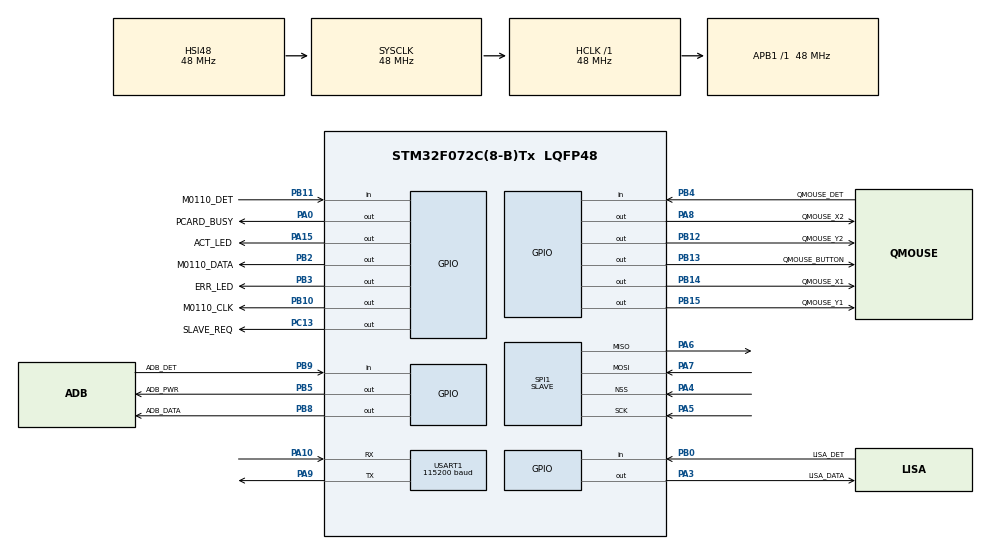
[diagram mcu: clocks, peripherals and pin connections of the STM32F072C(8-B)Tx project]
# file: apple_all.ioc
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Mcu.Family=STM32F0
Mcu.Name=STM32F072C(8-B)Tx
Mcu.Package=LQFP48
NVIC.SPI1_IRQn=true\:0\:0\:false\:false\:true\:true\:true
NVIC.TIM14_IRQn=true\:3\:0\:true\:false\:true\:true\:true
NVIC.TIM16_IRQn=true\:3\:0\:true\:false\:true\:true\:true
NVIC.TIM17_IRQn=true\:2\:0\:true\:false\:true\:true\:true
PA0.GPIO_Label=PCARD_BUSY
PA0.Signal=GPIO_Output
PA10.Mode=Asynchronous
PA10.Signal=USART1_RX
PA13.Mode=Serial_Wire
PA13.Signal=SYS_SWDIO
PA14.Mode=Serial_Wire
PA14.Signal=SYS_SWCLK
PA15.GPIO_Label=ACT_LED
PA15.Signal=GPIO_Output
PA3.GPIO_Label=LISA_DATA
PA3.GPIO_ModeDefaultOutputPP=GPIO_MODE_OUTPUT_OD
PA3.PinState=GPIO_PIN_SET
PA3.Signal=GPIO_Output
PA4.Mode=NSS_Signal_Hard_Input
PA4.Signal=SPI1_NSS
PA5.Mode=Full_Duplex_Slave
PA5.Signal=SPI1_SCK
PA6.Mode=Full_Duplex_Slave
PA6.Signal=SPI1_MISO
PA7.Mode=Full_Duplex_Slave
PA7.Signal=SPI1_MOSI
PA8.GPIO_Label=QMOUSE_X2
PA8.GPIO_ModeDefaultOutputPP=GPIO_MODE_OUTPUT_OD
PA8.PinState=GPIO_PIN_SET
PA8.Signal=GPIO_Output
PA9.Mode=Asynchronous
PA9.Signal=USART1_TX
PB0.GPIO_Label=LISA_DET
PB0.GPIO_PuPd=GPIO_PULLDOWN
PB0.Signal=GPIO_Input
PB10.GPIO_Label=M0110_CLK
PB10.GPIO_ModeDefaultOutputPP=GPIO_MODE_OUTPUT_OD
PB10.PinState=GPIO_PIN_SET
PB10.Signal=GPIO_Output
PB11.GPIO_Label=M0110_DET
PB11.GPIO_PuPd=GPIO_PULLDOWN
PB11.Signal=GPIO_Input
PB12.GPIO_Label=QMOUSE_Y2
PB12.GPIO_ModeDefaultOutputPP=GPIO_MODE_OUTPUT_OD
PB12.PinState=GPIO_PIN_SET
PB12.Signal=GPIO_Output
PB13.GPIO_Label=QMOUSE_BUTTON
PB13.GPIO_ModeDefaultOutputPP=GPIO_MODE_OUTPUT_OD
PB13.GPIO_Speed=GPIO_SPEED_FREQ_LOW
PB13.PinState=GPIO_PIN_SET
PB13.Signal=GPIO_Output
PB14.GPIO_Label=QMOUSE_X1
PB14.GPIO_ModeDefaultOutputPP=GPIO_MODE_OUTPUT_OD
PB14.GPIO_Speed=GPIO_SPEED_FREQ_LOW
PB14.PinState=GPIO_PIN_SET
PB14.Signal=GPIO_Output
PB15.GPIO_Label=QMOUSE_Y1
PB15.GPIO_ModeDefaultOutputPP=GPIO_MODE_OUTPUT_OD
PB15.GPIO_Speed=GPIO_SPEED_FREQ_LOW
PB15.PinState=GPIO_PIN_SET
PB15.Signal=GPIO_Output
PB2.GPIO_Label=M0110_DATA
PB2.GPIO_ModeDefaultOutputPP=GPIO_MODE_OUTPUT_OD
PB2.PinState=GPIO_PIN_SET
PB2.Signal=GPIO_Output
PB3.GPIO_Label=ERR_LED
PB3.Signal=GPIO_Output
PB4.GPIO_Label=QMOUSE_DET
PB4.GPIO_PuPd=GPIO_PULLDOWN
PB4.Signal=GPIO_Input
PB5.GPIO_Label=ADB_PWR
PB5.GPIO_ModeDefaultOutputPP=GPIO_MODE_OUTPUT_OD
PB5.PinState=GPIO_PIN_SET
PB5.Signal=GPIO_Output
PB8.GPIO_Label=ADB_DATA
PB8.GPIO_ModeDefaultOutputPP=GPIO_MODE_OUTPUT_OD
PB8.PinState=GPIO_PIN_SET
PB8.Signal=GPIO_Output
PB9.GPIO_Label=ADB_DET
PB9.GPIO_PuPd=GPIO_PULLDOWN
PB9.Signal=GPIO_Input
PC13.GPIO_Label=SLAVE_REQ
PC13.PinState=GPIO_PIN_RESET
PC13.Signal=GPIO_Output
ProjectManager.HeapSize=0x200
ProjectManager.StackSize=0x400
ProjectManager.TargetToolchain=MDK-ARM V5
RCC.AHBFreq_Value=48000000
RCC.APB1Freq_Value=48000000
RCC.APB1TimFreq_Value=48000000
RCC.HCLKFreq_Value=48000000
RCC.I2c1ClockSelection=RCC_I2C1CLKSOURCE_SYSCLK
RCC.SYSCLKFreq_VALUE=48000000
RCC.SYSCLKSource=RCC_SYSCLKSOURCE_HSI48
RCC.Usart1ClockSelection=RCC_USART1CLKSOURCE_SYSCLK
SPI1.DataSize=SPI_DATASIZE_8BIT
SPI1.Direction=SPI_DIRECTION_2LINES
SPI1.Mode=SPI_MODE_SLAVE
SPI1.VirtualNSS=VM_NSSHARD
SPI1.VirtualType=VM_SLAVE
TIM14.AutoReloadPreload=TIM_AUTORELOAD_PRELOAD_ENABLE
TIM14.Period=65535
TIM14.Prescaler=47
TIM16.AutoReloadPreload=TIM_AUTORELOAD_PRELOAD_ENABLE
TIM16.Period=65535
TIM16.Prescaler=47
TIM17.Period=10000
TIM17.Prescaler=47
TIM2.Period=4294967295
TIM2.Prescaler=47
USART1.BaudRate=115200
USART1.VirtualMode-Asynchronous=VM_ASYNC
VP_TIM14_VS_ClockSourceINT.Mode=Enable_Timer
VP_TIM16_VS_ClockSourceINT.Mode=Enable_Timer
VP_TIM17_VS_ClockSourceINT.Mode=Enable_Timer
VP_TIM2_VS_ClockSourceINT.Mode=Internal
board=custom

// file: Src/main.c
/**
  ******************************************************************************
  * @file           : main.c
  * @brief          : Main program body
  ******************************************************************************
  ** This notice applies to any and all portions of this file
  * that are not between comment pairs USER CODE BEGIN and
  * USER CODE END. Other portions of this file, whether
  * inserted by the user or by software development tools
  * are owned by their respective copyright owners.
  *
  * COPYRIGHT(c) 2023 STMicroelectronics
  *
  * Redistribution and use in source and binary forms, with or without modification,
  * are permitted provided that the following conditions are met:
  *   1. Redistributions of source code must retain the above copyright notice,
  *      this list of conditions and the following disclaimer.
  *   2. Redistributions in binary form must reproduce the above copyright notice,
  *      this list of conditions and the following disclaimer in the documentation
  *      and/or other materials provided with the distribution.
  *   3. Neither the name of STMicroelectronics nor the names of its contributors
  *      may be used to endorse or promote products derived from this software
  *      without specific prior written permission.
  *
  * THIS SOFTWARE IS PROVIDED BY THE COPYRIGHT HOLDERS AND CONTRIBUTORS "AS IS"
  * AND ANY EXPRESS OR IMPLIED WARRANTIES, INCLUDING, BUT NOT LIMITED TO, THE
  * IMPLIED WARRANTIES OF MERCHANTABILITY AND FITNESS FOR A PARTICULAR PURPOSE ARE
  * DISCLAIMED. IN NO EVENT SHALL THE COPYRIGHT HOLDER OR CONTRIBUTORS BE LIABLE
  * FOR ANY DIRECT, INDIRECT, INCIDENTAL, SPECIAL, EXEMPLARY, OR CONSEQUENTIAL
  * DAMAGES (INCLUDING, BUT NOT LIMITED TO, PROCUREMENT OF SUBSTITUTE GOODS OR
  * SERVICES; LOSS OF USE, DATA, OR PROFITS; OR BUSINESS INTERRUPTION) HOWEVER
  * CAUSED AND ON ANY THEORY OF LIABILITY, WHETHER IN CONTRACT, STRICT LIABILITY,
  * OR TORT (INCLUDING NEGLIGENCE OR OTHERWISE) ARISING IN ANY WAY OUT OF THE USE
  * OF THIS SOFTWARE, EVEN IF ADVISED OF THE POSSIBILITY OF SUCH DAMAGE.
  *
  ******************************************************************************
  */
#include "main.h"
#include "stm32f0xx_hal.h"

/* USER CODE BEGIN Includes */
#include <string.h>
#include <stdlib.h>
#include "delay_us.h"
#include "shared.h"
#include "helpers.h"
#include "quad_encoder.h"
#include "m0110a.h"
#include "lisa_kb.h"

#define PROTOCOL_STATUS_NOT_AVAILABLE 0
#define PROTOCOL_STATUS_ENABLED 1
#define PROTOCOL_STATUS_DISABLED 2
#define PROTOCOL_LOOKUP_SIZE 16

/* USER CODE END Includes */

SPI_HandleTypeDef hspi1;

TIM_HandleTypeDef htim2;
TIM_HandleTypeDef htim14;
TIM_HandleTypeDef htim16;
TIM_HandleTypeDef htim17;

UART_HandleTypeDef huart1;

/* USER CODE BEGIN PV */
/* Private variables ---------------------------------------------------------*/

const uint8_t board_id = 3;
const uint8_t version_major = 0;
const uint8_t version_minor = 0;
const uint8_t version_patch = 1;
uint8_t hw_revision = 0;

uint8_t spi_transmit_buf[SPI_BUF_SIZE];
uint8_t spi_recv_buf[SPI_BUF_SIZE];
kb_buf my_kb_buf;
m0110a_cmd_buf my_m0110a_buf;

mouse_buf my_mouse_buf;
mouse_event latest_mouse_event;
uint8_t spi_error_occured;
uint8_t protocol_status_lookup[PROTOCOL_LOOKUP_SIZE];

/* USER CODE END PV */

void SystemClock_Config(void);
static void MX_GPIO_Init(void);
static void MX_SPI1_Init(void);
static void MX_USART1_UART_Init(void);
static void MX_TIM2_Init(void);
static void MX_TIM16_Init(void);
static void MX_TIM17_Init(void);
static void MX_TIM14_Init(void);

/* USER CODE BEGIN PFP */
/* Private function prototypes -----------------------------------------------*/

/* USER CODE END PFP */

/* USER CODE BEGIN 0 */
int fputc(int ch, FILE *f)
{
    HAL_UART_Transmit(&huart1, (unsigned char *)&ch, 1, 10);
    return ch;
}

int16_t byte_to_int16_t(uint8_t lsb, uint8_t msb)
{
  return (int16_t)((msb << 8) | lsb);
}

void protocol_status_lookup_init(void)
{
  memset(protocol_status_lookup, PROTOCOL_STATUS_NOT_AVAILABLE, PROTOCOL_LOOKUP_SIZE);
  protocol_status_lookup[PROTOCOL_ADB_KB] = PROTOCOL_STATUS_DISABLED;
  protocol_status_lookup[PROTOCOL_ADB_MOUSE] = PROTOCOL_STATUS_DISABLED;
  protocol_status_lookup[PROTOCOL_M0100_MOUSE] = PROTOCOL_STATUS_ENABLED;
  protocol_status_lookup[PROTOCOL_M0110_KB] = PROTOCOL_STATUS_ENABLED;
  protocol_status_lookup[PROTOCOL_LISA_KB] = PROTOCOL_STATUS_DISABLED;
}

void handle_protocol_switch(uint8_t spi_byte)
{
  uint8_t index = spi_byte & 0x7f;
  uint8_t onoff = spi_byte & 0x80;

  if(index >= PROTOCOL_LOOKUP_SIZE)
    return;
  // trying to change a protocol that is not available on this board
  if(protocol_status_lookup[index] == PROTOCOL_STATUS_NOT_AVAILABLE)
    return;
  kb_buf_reset(&my_kb_buf);
  mouse_buf_reset(&my_mouse_buf);
  // switching protocol ON
  if(onoff && protocol_status_lookup[index] == PROTOCOL_STATUS_DISABLED)
  {
    switch(index)
    {
      case PROTOCOL_ADB_KB:
        break;

      case PROTOCOL_ADB_MOUSE:
        break;

      case PROTOCOL_M0100_MOUSE:
        quad_enable();
        break;

      case PROTOCOL_M0110_KB:
        m0110a_reset(&my_m0110a_buf);
        break;

      case PROTOCOL_LISA_KB:
        lisa_kb_reset();
        break;
    }
    protocol_status_lookup[index] = PROTOCOL_STATUS_ENABLED;
  }
  // switching protocol OFF
  else if((onoff == 0) && protocol_status_lookup[index] == PROTOCOL_STATUS_ENABLED)
  {
    switch(index)
    {
      case PROTOCOL_ADB_KB:
        break;

      case PROTOCOL_ADB_MOUSE:
        break;

      case PROTOCOL_M0100_MOUSE:
        quad_disable();
        break;

      case PROTOCOL_M0110_KB:
        m0110a_reset(&my_m0110a_buf);
        break;

      case PROTOCOL_LISA_KB:
        lisa_kb_reset();
        break;
    }
    protocol_status_lookup[index] = PROTOCOL_STATUS_DISABLED;
  }
}

void parse_spi_buf(uint8_t* spibuf)
{
  if(spibuf[SPI_BUF_INDEX_MSG_TYPE] == SPI_MOSI_MSG_TYPE_MOUSE_EVENT)
  {
    latest_mouse_event.movement_x = byte_to_int16_t(spibuf[4], spibuf[5]);
    latest_mouse_event.movement_y = 1 * byte_to_int16_t(spibuf[6], spibuf[7]);
    latest_mouse_event.button_left = spibuf[13];
    latest_mouse_event.button_right = spibuf[14];
    latest_mouse_event.button_middle = spibuf[15];
    latest_mouse_event.button_side = spibuf[16];
    latest_mouse_event.button_extra = spibuf[17];
    mouse_buf_add(&my_mouse_buf, &latest_mouse_event);
  }
  else if(spibuf[SPI_BUF_INDEX_MSG_TYPE] == SPI_MOSI_MSG_TYPE_KEYBOARD_EVENT)
  {
    kb_buf_add(&my_kb_buf, spibuf[4], spibuf[6]);
  }
  else if(spibuf[SPI_BUF_INDEX_MSG_TYPE] == SPI_MOSI_MSG_TYPE_INFO_REQUEST)
  {
    memset(spi_transmit_buf, 0, SPI_BUF_SIZE);
    spi_transmit_buf[SPI_BUF_INDEX_MAGIC] = SPI_MISO_MAGIC;
    spi_transmit_buf[SPI_BUF_INDEX_SEQNUM] = spibuf[SPI_BUF_INDEX_SEQNUM];
    spi_transmit_buf[SPI_BUF_INDEX_MSG_TYPE] = SPI_MISO_MSG_TYPE_INFO_REQUEST;
    spi_transmit_buf[3] = board_id;
    spi_transmit_buf[4] = hw_revision;
    spi_transmit_buf[5] = version_major;
    spi_transmit_buf[6] = version_minor;
    spi_transmit_buf[7] = version_patch;
    uint8_t curr_index = 8;
    for (int i = 0; i < PROTOCOL_LOOKUP_SIZE; i++)
    {
      if(protocol_status_lookup[i] == PROTOCOL_STATUS_NOT_AVAILABLE)
        continue;
      else if(protocol_status_lookup[i] == PROTOCOL_STATUS_DISABLED)
        spi_transmit_buf[curr_index] = i;
      else if(protocol_status_lookup[i] == PROTOCOL_STATUS_ENABLED)
        spi_transmit_buf[curr_index] = i | 0x80;
      curr_index++;
    }
  }
  else if(spibuf[SPI_BUF_INDEX_MSG_TYPE] == SPI_MOSI_MSG_TYPE_SET_PROTOCOL)
  {
    for (int i = 3; i < SPI_BUF_SIZE; ++i)
    {
      if(spibuf[i] == 0)
        break;
      handle_protocol_switch(spibuf[i]);
    }
  }
}

volatile uint32_t ACT_LED_off_ts;
void HAL_SPI_TxRxCpltCallback(SPI_HandleTypeDef *hspi)
{
  HAL_GPIO_WritePin(ACT_LED_GPIO_Port, ACT_LED_Pin, GPIO_PIN_SET);
  spi_error_occured = (spi_recv_buf[0] != SPI_MOSI_MAGIC);
  parse_spi_buf(spi_recv_buf);
  if(spi_recv_buf[SPI_BUF_INDEX_MSG_TYPE] == SPI_MOSI_MSG_TYPE_REQ_ACK)
    HAL_GPIO_WritePin(SLAVE_REQ_GPIO_Port, SLAVE_REQ_Pin, GPIO_PIN_RESET);
  HAL_SPI_TransmitReceive_IT(&hspi1, spi_transmit_buf, spi_recv_buf, SPI_BUF_SIZE);
  ACT_LED_off_ts = micros() + 10000;
}

const char boot_message[] = "USB4VC Protocol Board\nApple Pre-USB\ndekuNukem 2022";

/*

!!!!!!!!!!!!!!!!!!!!!!!!!!!!!!!!!!!!!!!!!
!!!!!!!!!!!!!!!!!!!!!!!!!!!!!!!!!!!!!!!!!
!!!!!!!!!!!!!!!!!!!!!!!!!!!!!!!!!!!!!!!!!
!!!!!!!!!!!!!!!!!!!!!!!!!!!!!!!!!!!!!!!!!

REMEMBER TO ENABLE ARR PRELOAD ON TIMER 16

AND DISABLE INTERRUPT DURING TRANSMISION

!!!!!!!!!!!!!!!!!!!!!!!!!!!!!!!!!!!!!!!!!
!!!!!!!!!!!!!!!!!!!!!!!!!!!!!!!!!!!!!!!!!
!!!!!!!!!!!!!!!!!!!!!!!!!!!!!!!!!!!!!!!!!
!!!!!!!!!!!!!!!!!!!!!!!!!!!!!!!!!!!!!!!!!

Configure GPIO pins : M0110_CLK_Pin

*/
uint8_t m0110a_inquiry_active;
uint32_t m0110a_last_inquiry;
uint8_t buffered_code, buffered_value;

void m0110a_write_1b_from_buf(void)
{
  uint8_t m0100a_byte;
  m0110a_cmd_buf_peek(&my_m0110a_buf, &m0100a_byte);
  m0110a_cmd_buf_pop(&my_m0110a_buf);
  m0110a_write(m0100a_byte);
}

void m0110a_update(void)
{
  static uint8_t m0110a_host_cmd, m0110a_status;

  m0110a_status = m0110a_read_host_cmd(&m0110a_host_cmd, 600);
  if(m0110a_status != M0110A_OK)
    return;

  if(m0110a_host_cmd == 0x10) // inquiry
  {
    m0110a_inquiry_active = 1;
    m0110a_last_inquiry = HAL_GetTick();
  }
  else if(m0110a_host_cmd == 0x14) // instant
  {
    if(m0110a_cmd_buf_is_empty(&my_m0110a_buf) == 0)
      m0110a_write_1b_from_buf();
    else
      m0110a_write(0x7b);
  }
  else if(m0110a_host_cmd == 0x16) // model number
    m0110a_write(0xb);
  else if(m0110a_host_cmd == 0x36) // test
    m0110a_write(0x7d);
  // printf("r%x", m0110a_host_cmd);
}

void m0100a_handle_inquiry(void)
{
  if(READ_SPI_CS() == GPIO_PIN_RESET)
    return;
  // "If no key transition has occurred after 0.25 seconds
  // the keyboard sends back a Null response to let the computer know it's still there"
  if(m0110a_inquiry_active && HAL_GetTick() - m0110a_last_inquiry > 250)
  {
    m0110a_write(0x7b);
    m0110a_inquiry_active = 0;
  }
  else if(m0110a_inquiry_active && m0110a_cmd_buf_is_empty(&my_m0110a_buf) == 0)
  {
    m0110a_write_1b_from_buf();
    m0110a_inquiry_active = 0;
  }
  else if(m0110a_inquiry_active && kb_buf_peek(&my_kb_buf, &buffered_code, &buffered_value) == 0)
  {
    m0110a_cmd_buf_reset(&my_m0110a_buf);
    if(make_m0110a_scancode(buffered_code, buffered_value, &my_m0110a_buf) == M0110A_OK)
    {
      m0110a_write_1b_from_buf();
      m0110a_inquiry_active = 0;
    }
    kb_buf_pop(&my_kb_buf);
  }
}

void lisa_init(lisa_handle* lisa)
{
  lisa->data_port = GPIOA;
  lisa->data_pin = GPIO_PIN_3;
  lisa->pwr_port = GPIOB;
  lisa->pwr_pin = GPIO_PIN_0;
  lisa_buf_init();
}

void run_lisa_kb(void)
{
  if(protocol_status_lookup[PROTOCOL_LISA_KB] == PROTOCOL_STATUS_DISABLED)
    return;
  if(HAL_GPIO_ReadPin(LISA_DET_GPIO_Port, LISA_DET_Pin) == GPIO_PIN_RESET)
    return;
  lisa_kb_update();
  if(kb_buf_peek(&my_kb_buf, &buffered_code, &buffered_value) != 0)
    return;
  lisa_buf_add(buffered_code, buffered_value);
  kb_buf_pop(&my_kb_buf);
}

void run_mac_kb(void)
{
  if(protocol_status_lookup[PROTOCOL_M0110_KB] == PROTOCOL_STATUS_DISABLED)
    return;
  if(HAL_GPIO_ReadPin(M0110_DET_GPIO_Port, M0110_DET_Pin) == GPIO_PIN_RESET)
    return;
  if(HAL_GPIO_ReadPin(M0110_CLK_GPIO_Port, M0110_CLK_Pin) == GPIO_PIN_RESET)
    return;
  m0110a_update();
  m0100a_handle_inquiry();
}

/* USER CODE END 0 */

int main(void)
{

  /* MCU Configuration----------------------------------------------------------*/

  /* Reset of all peripherals, Initializes the Flash interface and the Systick. */
  HAL_Init();

  /* Configure the system clock */
  SystemClock_Config();

  /* Initialize all configured peripherals */
  MX_GPIO_Init();
  MX_SPI1_Init();
  MX_USART1_UART_Init();
  MX_TIM2_Init();
  MX_TIM16_Init();
  MX_TIM17_Init();
  MX_TIM14_Init();
  /* USER CODE BEGIN 2 */
  printf("%s\nrev%d v%d.%d.%d\n", boot_message, hw_revision, version_major, version_minor, version_patch);
  delay_us_init(&htim2);
  protocol_status_lookup_init();

  m0110a_cmd_buf_init(&my_m0110a_buf);
  kb_buf_init(&my_kb_buf);
  mouse_buf_init(&my_mouse_buf);
  memset(spi_transmit_buf, 0, SPI_BUF_SIZE);
  HAL_SPI_TransmitReceive_IT(&hspi1, spi_transmit_buf, spi_recv_buf, SPI_BUF_SIZE);

  quad_init(&my_mouse_buf, &htim17, &htim16, &htim14, GPIOA, GPIO_PIN_8, GPIOB, GPIO_PIN_14, GPIOB, GPIO_PIN_15, GPIOB, GPIO_PIN_12);
  quad_enable();
  lisa_init(&lh);
  /* USER CODE END 2 */

  /* Infinite loop */
  /* USER CODE BEGIN WHILE */

	while (1)
  {
    HAL_GPIO_WritePin(ERR_LED_GPIO_Port, ERR_LED_Pin, spi_error_occured);
    if(micros() > ACT_LED_off_ts)
      HAL_GPIO_WritePin(ACT_LED_GPIO_Port, ACT_LED_Pin, GPIO_PIN_RESET);
  /* USER CODE END WHILE */

  /* USER CODE BEGIN 3 */

    run_mac_kb();
    run_lisa_kb();
    HAL_SPI_TransmitReceive_IT(&hspi1, spi_transmit_buf, spi_recv_buf, SPI_BUF_SIZE);
  }
  /* USER CODE END 3 */

}

void SystemClock_Config(void)
{

  RCC_OscInitTypeDef RCC_OscInitStruct;
  RCC_ClkInitTypeDef RCC_ClkInitStruct;
  RCC_PeriphCLKInitTypeDef PeriphClkInit;

    /**Initializes the CPU, AHB and APB busses clocks
    */
  RCC_OscInitStruct.OscillatorType = RCC_OSCILLATORTYPE_HSI48;
  RCC_OscInitStruct.HSI48State = RCC_HSI48_ON;
  RCC_OscInitStruct.PLL.PLLState = RCC_PLL_NONE;
  if (HAL_RCC_OscConfig(&RCC_OscInitStruct) != HAL_OK)
  {
    _Error_Handler(__FILE__, __LINE__);
  }

    /**Initializes the CPU, AHB and APB busses clocks
    */
  RCC_ClkInitStruct.ClockType = RCC_CLOCKTYPE_HCLK|RCC_CLOCKTYPE_SYSCLK
                              |RCC_CLOCKTYPE_PCLK1;
  RCC_ClkInitStruct.SYSCLKSource = RCC_SYSCLKSOURCE_HSI48;
  RCC_ClkInitStruct.AHBCLKDivider = RCC_SYSCLK_DIV1;
  RCC_ClkInitStruct.APB1CLKDivider = RCC_HCLK_DIV1;

  if (HAL_RCC_ClockConfig(&RCC_ClkInitStruct, FLASH_LATENCY_1) != HAL_OK)
  {
    _Error_Handler(__FILE__, __LINE__);
  }

  PeriphClkInit.PeriphClockSelection = RCC_PERIPHCLK_USART1;
  PeriphClkInit.Usart1ClockSelection = RCC_USART1CLKSOURCE_SYSCLK;
  if (HAL_RCCEx_PeriphCLKConfig(&PeriphClkInit) != HAL_OK)
  {
    _Error_Handler(__FILE__, __LINE__);
  }

    /**Configure the Systick interrupt time
    */
  HAL_SYSTICK_Config(HAL_RCC_GetHCLKFreq()/1000);

    /**Configure the Systick
    */
  HAL_SYSTICK_CLKSourceConfig(SYSTICK_CLKSOURCE_HCLK);

  /* SysTick_IRQn interrupt configuration */
  HAL_NVIC_SetPriority(SysTick_IRQn, 0, 0);
}

/* SPI1 init function */
static void MX_SPI1_Init(void)
{

  /* SPI1 parameter configuration*/
  hspi1.Instance = SPI1;
  hspi1.Init.Mode = SPI_MODE_SLAVE;
  hspi1.Init.Direction = SPI_DIRECTION_2LINES;
  hspi1.Init.DataSize = SPI_DATASIZE_8BIT;
  hspi1.Init.CLKPolarity = SPI_POLARITY_LOW;
  hspi1.Init.CLKPhase = SPI_PHASE_1EDGE;
  hspi1.Init.NSS = SPI_NSS_HARD_INPUT;
  hspi1.Init.FirstBit = SPI_FIRSTBIT_MSB;
  hspi1.Init.TIMode = SPI_TIMODE_DISABLE;
  hspi1.Init.CRCCalculation = SPI_CRCCALCULATION_DISABLE;
  hspi1.Init.CRCPolynomial = 7;
  hspi1.Init.CRCLength = SPI_CRC_LENGTH_DATASIZE;
  hspi1.Init.NSSPMode = SPI_NSS_PULSE_DISABLE;
  if (HAL_SPI_Init(&hspi1) != HAL_OK)
  {
    _Error_Handler(__FILE__, __LINE__);
  }

}

/* TIM2 init function */
static void MX_TIM2_Init(void)
{

  TIM_ClockConfigTypeDef sClockSourceConfig;
  TIM_MasterConfigTypeDef sMasterConfig;

  htim2.Instance = TIM2;
  htim2.Init.Prescaler = 47;
  htim2.Init.CounterMode = TIM_COUNTERMODE_UP;
  htim2.Init.Period = 4294967295;
  htim2.Init.ClockDivision = TIM_CLOCKDIVISION_DIV1;
  htim2.Init.AutoReloadPreload = TIM_AUTORELOAD_PRELOAD_DISABLE;
  if (HAL_TIM_Base_Init(&htim2) != HAL_OK)
  {
    _Error_Handler(__FILE__, __LINE__);
  }

  sClockSourceConfig.ClockSource = TIM_CLOCKSOURCE_INTERNAL;
  if (HAL_TIM_ConfigClockSource(&htim2, &sClockSourceConfig) != HAL_OK)
  {
    _Error_Handler(__FILE__, __LINE__);
  }

  sMasterConfig.MasterOutputTrigger = TIM_TRGO_RESET;
  sMasterConfig.MasterSlaveMode = TIM_MASTERSLAVEMODE_DISABLE;
  if (HAL_TIMEx_MasterConfigSynchronization(&htim2, &sMasterConfig) != HAL_OK)
  {
    _Error_Handler(__FILE__, __LINE__);
  }

}

/* TIM14 init function */
static void MX_TIM14_Init(void)
{

  htim14.Instance = TIM14;
  htim14.Init.Prescaler = 47;
  htim14.Init.CounterMode = TIM_COUNTERMODE_UP;
  htim14.Init.Period = 65535;
  htim14.Init.ClockDivision = TIM_CLOCKDIVISION_DIV1;
  htim14.Init.AutoReloadPreload = TIM_AUTORELOAD_PRELOAD_ENABLE;
  if (HAL_TIM_Base_Init(&htim14) != HAL_OK)
  {
    _Error_Handler(__FILE__, __LINE__);
  }

}

/* TIM16 init function */
static void MX_TIM16_Init(void)
{

  htim16.Instance = TIM16;
  htim16.Init.Prescaler = 47;
  htim16.Init.CounterMode = TIM_COUNTERMODE_UP;
  htim16.Init.Period = 65535;
  htim16.Init.ClockDivision = TIM_CLOCKDIVISION_DIV1;
  htim16.Init.RepetitionCounter = 0;
  htim16.Init.AutoReloadPreload = TIM_AUTORELOAD_PRELOAD_ENABLE;
  if (HAL_TIM_Base_Init(&htim16) != HAL_OK)
  {
    _Error_Handler(__FILE__, __LINE__);
  }

}

/* TIM17 init function */
static void MX_TIM17_Init(void)
{

  htim17.Instance = TIM17;
  htim17.Init.Prescaler = 47;
  htim17.Init.CounterMode = TIM_COUNTERMODE_UP;
  htim17.Init.Period = 10000;
  htim17.Init.ClockDivision = TIM_CLOCKDIVISION_DIV1;
  htim17.Init.RepetitionCounter = 0;
  htim17.Init.AutoReloadPreload = TIM_AUTORELOAD_PRELOAD_DISABLE;
  if (HAL_TIM_Base_Init(&htim17) != HAL_OK)
  {
    _Error_Handler(__FILE__, __LINE__);
  }

}

/* USART1 init function */
static void MX_USART1_UART_Init(void)
{

  huart1.Instance = USART1;
  huart1.Init.BaudRate = 115200;
  huart1.Init.WordLength = UART_WORDLENGTH_8B;
  huart1.Init.StopBits = UART_STOPBITS_1;
  huart1.Init.Parity = UART_PARITY_NONE;
  huart1.Init.Mode = UART_MODE_TX_RX;
  huart1.Init.HwFlowCtl = UART_HWCONTROL_NONE;
  huart1.Init.OverSampling = UART_OVERSAMPLING_16;
  huart1.Init.OneBitSampling = UART_ONE_BIT_SAMPLE_DISABLE;
  huart1.AdvancedInit.AdvFeatureInit = UART_ADVFEATURE_NO_INIT;
  if (HAL_UART_Init(&huart1) != HAL_OK)
  {
    _Error_Handler(__FILE__, __LINE__);
  }

}

/** Configure pins as
        * Analog
        * Input
        * Output
        * EVENT_OUT
        * EXTI
*/
static void MX_GPIO_Init(void)
{

  GPIO_InitTypeDef GPIO_InitStruct;

  /* GPIO Ports Clock Enable */
  __HAL_RCC_GPIOC_CLK_ENABLE();
  __HAL_RCC_GPIOA_CLK_ENABLE();
  __HAL_RCC_GPIOB_CLK_ENABLE();

  /*Configure GPIO pin Output Level */
  HAL_GPIO_WritePin(SLAVE_REQ_GPIO_Port, SLAVE_REQ_Pin, GPIO_PIN_RESET);

  /*Configure GPIO pin Output Level */
  HAL_GPIO_WritePin(GPIOA, PCARD_BUSY_Pin|ACT_LED_Pin, GPIO_PIN_RESET);

  /*Configure GPIO pin Output Level */
  HAL_GPIO_WritePin(GPIOA, LISA_DATA_Pin|QMOUSE_X2_Pin, GPIO_PIN_SET);

  /*Configure GPIO pin Output Level */
  HAL_GPIO_WritePin(GPIOB, M0110_DATA_Pin|M0110_CLK_Pin|QMOUSE_Y2_Pin|QMOUSE_BUTTON_Pin
                          |QMOUSE_X1_Pin|QMOUSE_Y1_Pin|ADB_PWR_Pin|ADB_DATA_Pin, GPIO_PIN_SET);

  /*Configure GPIO pin Output Level */
  HAL_GPIO_WritePin(ERR_LED_GPIO_Port, ERR_LED_Pin, GPIO_PIN_RESET);

  /*Configure GPIO pin : SLAVE_REQ_Pin */
  GPIO_InitStruct.Pin = SLAVE_REQ_Pin;
  GPIO_InitStruct.Mode = GPIO_MODE_OUTPUT_PP;
  GPIO_InitStruct.Pull = GPIO_NOPULL;
  GPIO_InitStruct.Speed = GPIO_SPEED_FREQ_LOW;
  HAL_GPIO_Init(SLAVE_REQ_GPIO_Port, &GPIO_InitStruct);

  /*Configure GPIO pins : PCARD_BUSY_Pin ACT_LED_Pin */
  GPIO_InitStruct.Pin = PCARD_BUSY_Pin|ACT_LED_Pin;
  GPIO_InitStruct.Mode = GPIO_MODE_OUTPUT_PP;
  GPIO_InitStruct.Pull = GPIO_NOPULL;
  GPIO_InitStruct.Speed = GPIO_SPEED_FREQ_LOW;
  HAL_GPIO_Init(GPIOA, &GPIO_InitStruct);

  /*Configure GPIO pins : LISA_DATA_Pin QMOUSE_X2_Pin */
  GPIO_InitStruct.Pin = LISA_DATA_Pin|QMOUSE_X2_Pin;
  GPIO_InitStruct.Mode = GPIO_MODE_OUTPUT_OD;
  GPIO_InitStruct.Pull = GPIO_NOPULL;
  GPIO_InitStruct.Speed = GPIO_SPEED_FREQ_LOW;
  HAL_GPIO_Init(GPIOA, &GPIO_InitStruct);

  /*Configure GPIO pins : LISA_DET_Pin M0110_DET_Pin QMOUSE_DET_Pin ADB_DET_Pin */
  GPIO_InitStruct.Pin = LISA_DET_Pin|M0110_DET_Pin|QMOUSE_DET_Pin|ADB_DET_Pin;
  GPIO_InitStruct.Mode = GPIO_MODE_INPUT;
  GPIO_InitStruct.Pull = GPIO_PULLDOWN;
  HAL_GPIO_Init(GPIOB, &GPIO_InitStruct);

  /*Configure GPIO pins : M0110_DATA_Pin M0110_CLK_Pin QMOUSE_Y2_Pin QMOUSE_BUTTON_Pin
                           QMOUSE_X1_Pin QMOUSE_Y1_Pin ADB_PWR_Pin ADB_DATA_Pin */
  GPIO_InitStruct.Pin = M0110_DATA_Pin|M0110_CLK_Pin|QMOUSE_Y2_Pin|QMOUSE_BUTTON_Pin
                          |QMOUSE_X1_Pin|QMOUSE_Y1_Pin|ADB_PWR_Pin|ADB_DATA_Pin;
  GPIO_InitStruct.Mode = GPIO_MODE_OUTPUT_OD;
  GPIO_InitStruct.Pull = GPIO_NOPULL;
  GPIO_InitStruct.Speed = GPIO_SPEED_FREQ_LOW;
  HAL_GPIO_Init(GPIOB, &GPIO_InitStruct);

  /*Configure GPIO pin : ERR_LED_Pin */
  GPIO_InitStruct.Pin = ERR_LED_Pin;
  GPIO_InitStruct.Mode = GPIO_MODE_OUTPUT_PP;
  GPIO_InitStruct.Pull = GPIO_NOPULL;
  GPIO_InitStruct.Speed = GPIO_SPEED_FREQ_LOW;
  HAL_GPIO_Init(ERR_LED_GPIO_Port, &GPIO_InitStruct);

}

void _Error_Handler(char *file, int line)
{
  while(1)
  {
  }
}

/************************ (C) COPYRIGHT STMicroelectronics *****END OF FILE****/
